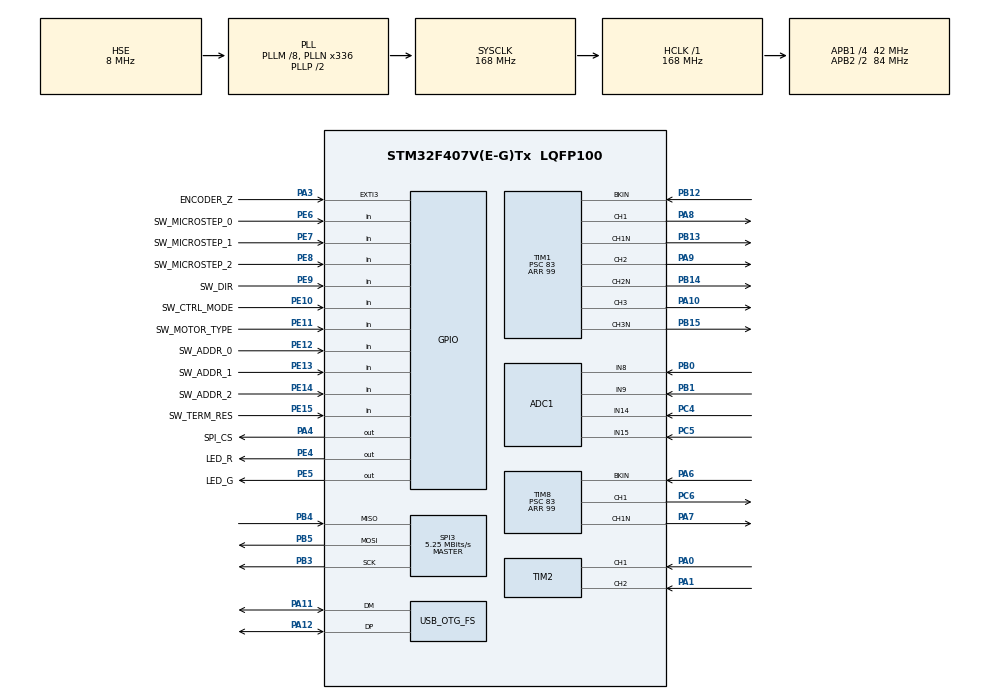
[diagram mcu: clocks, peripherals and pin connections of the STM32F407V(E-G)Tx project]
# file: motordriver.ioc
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ADC1.Channel-0\#ChannelRegularConversion=ADC_CHANNEL_8
ADC1.Channel-1\#ChannelInjectedConversion=ADC_CHANNEL_14
ADC1.Channel-2\#ChannelInjectedConversion=ADC_CHANNEL_15
ADC1.EOCSelection=ADC_EOC_SINGLE_CONV
ADC1.ExternalTrigInjecConv=ADC_EXTERNALTRIGINJECCONV_T1_TRGO
ADC1.ExternalTrigInjecConvEdge=ADC_EXTERNALTRIGINJECCONVEDGE_RISING
ADC1.InjNumberOfConversion=2
ADC1.InjectedOffset-1\#ChannelInjectedConversion=0
ADC1.InjectedOffset-2\#ChannelInjectedConversion=0
ADC1.InjectedRank-1\#ChannelInjectedConversion=1
ADC1.InjectedRank-2\#ChannelInjectedConversion=2
ADC1.NbrOfConversionFlag=1
ADC1.Rank-0\#ChannelRegularConversion=1
ADC1.SamplingTime-0\#ChannelRegularConversion=ADC_SAMPLETIME_84CYCLES
ADC1.SamplingTime-1\#ChannelInjectedConversion=ADC_SAMPLETIME_56CYCLES
ADC1.SamplingTime-2\#ChannelInjectedConversion=ADC_SAMPLETIME_56CYCLES
ADC1.ScanConvMode=ENABLE
ADC1.master=1
Mcu.Family=STM32F4
Mcu.Name=STM32F407V(E-G)Tx
Mcu.Package=LQFP100
NVIC.ADC_IRQn=true\:4\:0\:true\:false\:true\:true\:true\:true
NVIC.EXTI3_IRQn=true\:6\:0\:true\:false\:true\:true\:true\:true
NVIC.OTG_FS_IRQn=true\:7\:0\:true\:false\:true\:false\:true\:true
NVIC.PriorityGroup=NVIC_PRIORITYGROUP_4
NVIC.TIM6_DAC_IRQn=true\:5\:0\:true\:false\:true\:true\:true\:true
PA0-WKUP.GPIO_PuPd=GPIO_NOPULL
PA0-WKUP.GPIO_Speed=GPIO_SPEED_FREQ_HIGH
PA0-WKUP.Signal=S_TIM2_CH1_ETR
PA1.GPIO_Speed=GPIO_SPEED_FREQ_HIGH
PA1.Signal=S_TIM2_CH2
PA10.Signal=S_TIM1_CH3
PA11.Mode=Device_Only
PA11.Signal=USB_OTG_FS_DM
PA12.Mode=Device_Only
PA12.Signal=USB_OTG_FS_DP
PA13.Mode=Serial_Wire
PA13.Signal=SYS_JTMS-SWDIO
PA14.Mode=Serial_Wire
PA14.Signal=SYS_JTCK-SWCLK
PA3.GPIO_Label=ENCODER_Z
PA3.GPIO_ModeDefaultEXTI=GPIO_MODE_IT_RISING
PA3.Signal=GPXTI3
PA4.GPIO_Label=SPI_CS
PA4.GPIO_Speed=GPIO_SPEED_FREQ_HIGH
PA4.PinState=GPIO_PIN_SET
PA4.Signal=GPIO_Output
PA6.GPIO_PuPd=GPIO_PULLUP
PA6.Mode=Activate-Break-Input
PA6.Signal=TIM8_BKIN
PA7.Mode=PWM Generation1 CH1 CH1N
PA7.Signal=TIM8_CH1N
PA8.Signal=S_TIM1_CH1
PA9.Signal=S_TIM1_CH2
PB0.Signal=ADCx_IN8
PB1.Signal=ADCx_IN9
PB12.GPIO_PuPd=GPIO_PULLUP
PB12.Mode=Activate-Break-Input
PB12.Signal=TIM1_BKIN
PB13.Mode=PWM Generation1 CH1 CH1N
PB13.Signal=TIM1_CH1N
PB14.Mode=PWM Generation2 CH2 CH2N
PB14.Signal=TIM1_CH2N
PB15.Mode=PWM Generation3 CH3 CH3N
PB15.Signal=TIM1_CH3N
PB3.Mode=Full_Duplex_Master
PB3.Signal=SPI3_SCK
PB4.Mode=Full_Duplex_Master
PB4.Signal=SPI3_MISO
PB5.Mode=Full_Duplex_Master
PB5.Signal=SPI3_MOSI
PC4.Signal=ADCx_IN14
PC5.Signal=ADCx_IN15
PC6.Signal=S_TIM8_CH1
PE10.GPIO_Label=SW_CTRL_MODE
PE10.GPIO_PuPd=GPIO_PULLUP
PE10.Signal=GPIO_Input
PE11.GPIO_Label=SW_MOTOR_TYPE
PE11.GPIO_PuPd=GPIO_PULLUP
PE11.Signal=GPIO_Input
PE12.GPIO_Label=SW_ADDR_0
PE12.GPIO_PuPd=GPIO_PULLUP
PE12.Signal=GPIO_Input
PE13.GPIO_Label=SW_ADDR_1
PE13.GPIO_PuPd=GPIO_PULLUP
PE13.Signal=GPIO_Input
PE14.GPIO_Label=SW_ADDR_2
PE14.GPIO_PuPd=GPIO_PULLUP
PE14.Signal=GPIO_Input
PE15.GPIO_Label=SW_TERM_RES
PE15.GPIO_PuPd=GPIO_PULLUP
PE15.Signal=GPIO_Input
PE4.GPIO_Label=LED_R
PE4.GPIO_PuPd=GPIO_PULLUP
PE4.PinState=GPIO_PIN_SET
PE4.Signal=GPIO_Output
PE5.GPIO_Label=LED_G
PE5.GPIO_PuPd=GPIO_PULLUP
PE5.PinState=GPIO_PIN_SET
PE5.Signal=GPIO_Output
PE6.GPIO_Label=SW_MICROSTEP_0
PE6.GPIO_PuPd=GPIO_PULLUP
PE6.Signal=GPIO_Input
PE7.GPIO_Label=SW_MICROSTEP_1
PE7.GPIO_PuPd=GPIO_PULLUP
PE7.Signal=GPIO_Input
PE8.GPIO_Label=SW_MICROSTEP_2
PE8.GPIO_Mode=GPIO_MODE_INPUT
PE8.GPIO_PuPd=GPIO_PULLUP
PE8.Signal=GPIO_Input
PE9.GPIO_Label=SW_DIR
PE9.GPIO_PuPd=GPIO_PULLUP
PE9.Signal=GPIO_Input
PH0-OSC_IN.Mode=HSE-External-Oscillator
PH0-OSC_IN.Signal=RCC_OSC_IN
PH1-OSC_OUT.Mode=HSE-External-Oscillator
PH1-OSC_OUT.Signal=RCC_OSC_OUT
ProjectManager.HeapSize=0x600
ProjectManager.StackSize=0x400
ProjectManager.TargetToolchain=MDK-ARM V5.32
RCC.48MHZClocksFreq_Value=48000000
RCC.AHBFreq_Value=168000000
RCC.APB1CLKDivider=RCC_HCLK_DIV4
RCC.APB1Freq_Value=42000000
RCC.APB1TimFreq_Value=84000000
RCC.APB2CLKDivider=RCC_HCLK_DIV2
RCC.APB2Freq_Value=84000000
RCC.APB2TimFreq_Value=168000000
RCC.CortexFreq_Value=168000000
RCC.HCLKFreq_Value=168000000
RCC.HSE_VALUE=8000000
RCC.HSI_VALUE=16000000
RCC.LSE_VALUE=32768
RCC.PLLM=8
RCC.PLLN=336
RCC.PLLQ=7
RCC.SYSCLKFreq_VALUE=168000000
RCC.SYSCLKSource=RCC_SYSCLKSOURCE_PLLCLK
RCC.VCOOutputFreq_Value=336000000
SH.ADCx_IN14.0=ADC1_IN14,IN14
SH.ADCx_IN15.0=ADC1_IN15,IN15
SH.ADCx_IN8.0=ADC1_IN8,IN8
SH.ADCx_IN9.0=ADC1_IN9,IN9
SH.S_TIM1_CH1.0=TIM1_CH1,PWM Generation1 CH1 CH1N
SH.S_TIM1_CH2.0=TIM1_CH2,PWM Generation2 CH2 CH2N
SH.S_TIM1_CH3.0=TIM1_CH3,PWM Generation3 CH3 CH3N
SH.S_TIM2_CH1_ETR.0=TIM2_CH1,Encoder_Interface
SH.S_TIM2_CH2.0=TIM2_CH2,Encoder_Interface
SH.S_TIM8_CH1.0=TIM8_CH1,PWM Generation1 CH1 CH1N
SPI3.BaudRatePrescaler=SPI_BAUDRATEPRESCALER_8
SPI3.CLKPhase=SPI_PHASE_2EDGE
SPI3.CLKPolarity=SPI_POLARITY_HIGH
SPI3.CalculateBaudRate=5.25 MBits/s
SPI3.DataSize=SPI_DATASIZE_16BIT
SPI3.Direction=SPI_DIRECTION_2LINES
SPI3.Mode=SPI_MODE_MASTER
SPI3.VirtualType=VM_MASTER
TIM1.AutomaticOutput=TIM_AUTOMATICOUTPUT_ENABLE
TIM1.BreakPolarity=TIM_BREAKPOLARITY_LOW
TIM1.BreakState=TIM_BREAK_ENABLE
TIM1.Channel-PWM\ Generation1\ CH1\ CH1N=TIM_CHANNEL_1
TIM1.Channel-PWM\ Generation2\ CH2\ CH2N=TIM_CHANNEL_2
TIM1.Channel-PWM\ Generation3\ CH3\ CH3N=TIM_CHANNEL_3
TIM1.Channel-PWM\ Generation4\ No\ Output=TIM_CHANNEL_4
TIM1.OCIdleState_1=TIM_OCIDLESTATE_SET
TIM1.OCIdleState_2=TIM_OCIDLESTATE_SET
TIM1.OCIdleState_3=TIM_OCIDLESTATE_SET
TIM1.OCMode_PWM-PWM\ Generation4\ No\ Output=TIM_OCMODE_PWM2
TIM1.OCNIdleState_1=TIM_OCNIDLESTATE_RESET
TIM1.OCNIdleState_2=TIM_OCNIDLESTATE_RESET
TIM1.OCNIdleState_3=TIM_OCNIDLESTATE_RESET
TIM1.OCNPolarity_1=TIM_OCNPOLARITY_LOW
TIM1.OCNPolarity_2=TIM_OCNPOLARITY_LOW
TIM1.OCNPolarity_3=TIM_OCNPOLARITY_LOW
TIM1.OffStateIDLEMode=TIM_OSSI_ENABLE
TIM1.OffStateRunMode=TIM_OSSR_ENABLE
TIM1.Period=99
TIM1.Prescaler=83
TIM1.Pulse-PWM\ Generation1\ CH1\ CH1N=49
TIM1.Pulse-PWM\ Generation2\ CH2\ CH2N=49
TIM1.Pulse-PWM\ Generation3\ CH3\ CH3N=49
TIM1.Pulse-PWM\ Generation4\ No\ Output=50
TIM1.TIM_MasterOutputTrigger=TIM_TRGO_OC4REF
TIM2.EncoderMode=TIM_ENCODERMODE_TI12
TIM2.IC1Filter=6
TIM2.IC2Filter=6
TIM6.Period=99
TIM6.Prescaler=83
TIM8.BreakPolarity=TIM_BREAKPOLARITY_LOW
TIM8.BreakState=TIM_BREAK_ENABLE
TIM8.Channel-PWM\ Generation1\ CH1\ CH1N=TIM_CHANNEL_1
TIM8.OCIdleState_1=TIM_OCIDLESTATE_SET
TIM8.OCNIdleState_1=TIM_OCNIDLESTATE_RESET
TIM8.OCNPolarity_1=TIM_OCNPOLARITY_LOW
TIM8.OffStateIDLEMode=TIM_OSSI_ENABLE
TIM8.OffStateRunMode=TIM_OSSR_ENABLE
TIM8.Period=99
TIM8.Prescaler=83
USB_DEVICE.CLASS_NAME_FS=CDC
USB_DEVICE.VirtualMode-CDC_FS=Cdc
USB_DEVICE.VirtualModeFS=Cdc_FS
USB_OTG_FS.VirtualMode=Device_Only
VP_TIM1_VS_ClockSourceINT.Mode=Internal
VP_TIM1_VS_no_output4.Mode=PWM Generation4 No Output
VP_TIM6_VS_ClockSourceINT.Mode=Enable_Timer
VP_TIM8_VS_ClockSourceINT.Mode=Internal
VP_USB_DEVICE_VS_USB_DEVICE_CDC_FS.Mode=CDC_FS
board=custom

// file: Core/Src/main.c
/* USER CODE BEGIN Header */
/**
  ******************************************************************************
  * @file           : main.c
  * @brief          : Main program body
  ******************************************************************************
  * @attention
  *
  * Copyright (c) 2026 STMicroelectronics.
  * All rights reserved.
  *
  * This software is licensed under terms that can be found in the LICENSE file
  * in the root directory of this software component.
  * If no LICENSE file comes with this software, it is provided AS-IS.
  *
  ******************************************************************************
  */
/* USER CODE END Header */
#include "main.h"
#include "adc.h"
#include "spi.h"
#include "tim.h"
#include "usb_device.h"
#include "gpio.h"

/* USER CODE BEGIN Includes */
#include "FOC.h"
#include "adc_task.h"
#include "vofa.h"
#include "PID.h"
#include "connecting.h"
#include "mt6816.h"
#include "myflash.h"
#include "usbd_cdc_if.h"
#include "math.h"
/* USER CODE END Includes */

/* USER CODE BEGIN PD */

#ifndef M_PI
#define M_PI 3.14159265358979323846
#endif
uint32_t add_angle;//角度累加，初始化用
float current[2],vol=0,temperature=0 ;//定义ADC物理量
uint8_t Iadjust=1;//电流校准标记
uint8_t cchar[4][4]={0};//定义浮点数转换后的数据缓存
extern int16_t Scope[200];
extern uint16_t angledata[200];
extern float speed_send;
uint8_t erro_flag=0;//发生错误标记
uint8_t limit_vol=0;//积分限幅电压
/* USER CODE END PD */

/* USER CODE BEGIN PM */
void motor_protect(void)
{
  if(temperature > 100 || fabs(m1_foc.Iq) > 3 || fabs(m1_foc.Id) > 3 || (vol > 25 || vol < 7))
  {
    connect_crt.motor_mode = 0;
    set_uduq(&m1_foc, 0, 0);
    foc_open(&m1_foc, 0);

//    if(erro_flag == 0)
//    {
//      if(connect_type == 0)
//        CDC_Transmit_FS((uint8_t *)"Protecting!\n", 12);
//      else
//      {
//        set_cantx_buf(0xff,0xff,0xff,0xff,0xff,0xff,0xff,0xff);
//        CAN_Transmit(&my_can_tx);
//      }
//    }
    erro_flag = 1;
  }
  else if(mt6816_flag == 1)
  {
    erro_flag = 0;
  }
}
/* USER CODE END PM */

void SystemClock_Config(void);

int main(void)
{

  /* MCU Configuration--------------------------------------------------------*/

  /* Reset of all peripherals, Initializes the Flash interface and the Systick. */
  HAL_Init();

  /* Configure the system clock */
  SystemClock_Config();

  /* Initialize all configured peripherals */
  MX_GPIO_Init();
  MX_USB_DEVICE_Init();
  MX_TIM1_Init();
  MX_TIM8_Init();
  MX_TIM6_Init();
  MX_ADC1_Init();
  MX_TIM2_Init();
  MX_SPI3_Init();
  /* USER CODE BEGIN 2 */
  VOFA_Init();
  MT6816_SPI_CS_H();   // 先释放片选
  HAL_Delay(10);
  vol = get_vol();
  printf("power on, vol = %.2f\r\n", vol);
  // 检查 MT6816 是否在线
  if (check_mt6816())
  {
    mt6816_flag = 1;
 // 先校准，写Flash，最后自动复位
    REIN_mt6816_spi_data_Signal_Init();
  }
  else
  {
    mt6816_flag = 0;
    Error_Handler();
  }
  // 校准完成正常运行初始化：读取Flash里的DIR和补偿表
  //b_foc_init();
  // 启动控制中断
//  HAL_TIM_Base_Start_IT(&htim6);
  /* USER CODE END 2 */

  /* Infinite loop */
  while (1)
  {

  }
}

void SystemClock_Config(void)
{
  RCC_OscInitTypeDef RCC_OscInitStruct = {0};
  RCC_ClkInitTypeDef RCC_ClkInitStruct = {0};

  /** Configure the main internal regulator output voltage
  */
  __HAL_RCC_PWR_CLK_ENABLE();
  __HAL_PWR_VOLTAGESCALING_CONFIG(PWR_REGULATOR_VOLTAGE_SCALE1);

  /** Initializes the RCC Oscillators according to the specified parameters
  * in the RCC_OscInitTypeDef structure.
  */
  RCC_OscInitStruct.OscillatorType = RCC_OSCILLATORTYPE_HSE;
  RCC_OscInitStruct.HSEState = RCC_HSE_ON;
  RCC_OscInitStruct.PLL.PLLState = RCC_PLL_ON;
  RCC_OscInitStruct.PLL.PLLSource = RCC_PLLSOURCE_HSE;
  RCC_OscInitStruct.PLL.PLLM = 8;
  RCC_OscInitStruct.PLL.PLLN = 336;
  RCC_OscInitStruct.PLL.PLLP = RCC_PLLP_DIV2;
  RCC_OscInitStruct.PLL.PLLQ = 7;
  if (HAL_RCC_OscConfig(&RCC_OscInitStruct) != HAL_OK)
  {
    Error_Handler();
  }

  /** Initializes the CPU, AHB and APB buses clocks
  */
  RCC_ClkInitStruct.ClockType = RCC_CLOCKTYPE_HCLK|RCC_CLOCKTYPE_SYSCLK
                              |RCC_CLOCKTYPE_PCLK1|RCC_CLOCKTYPE_PCLK2;
  RCC_ClkInitStruct.SYSCLKSource = RCC_SYSCLKSOURCE_PLLCLK;
  RCC_ClkInitStruct.AHBCLKDivider = RCC_SYSCLK_DIV1;
  RCC_ClkInitStruct.APB1CLKDivider = RCC_HCLK_DIV4;
  RCC_ClkInitStruct.APB2CLKDivider = RCC_HCLK_DIV2;

  if (HAL_RCC_ClockConfig(&RCC_ClkInitStruct, FLASH_LATENCY_5) != HAL_OK)
  {
    Error_Handler();
  }
}

/* USER CODE BEGIN 4 */
uint16_t a_angle=0;
void HAL_TIM_PeriodElapsedCallback(TIM_HandleTypeDef *htim)
{
    if (htim->Instance == TIM6)
    {
        // 10kHz：更新编码器和电角
    }
}

/* USER CODE END 4 */

void Error_Handler(void)
{
  __disable_irq();
  while (1)
  {
  }
}
